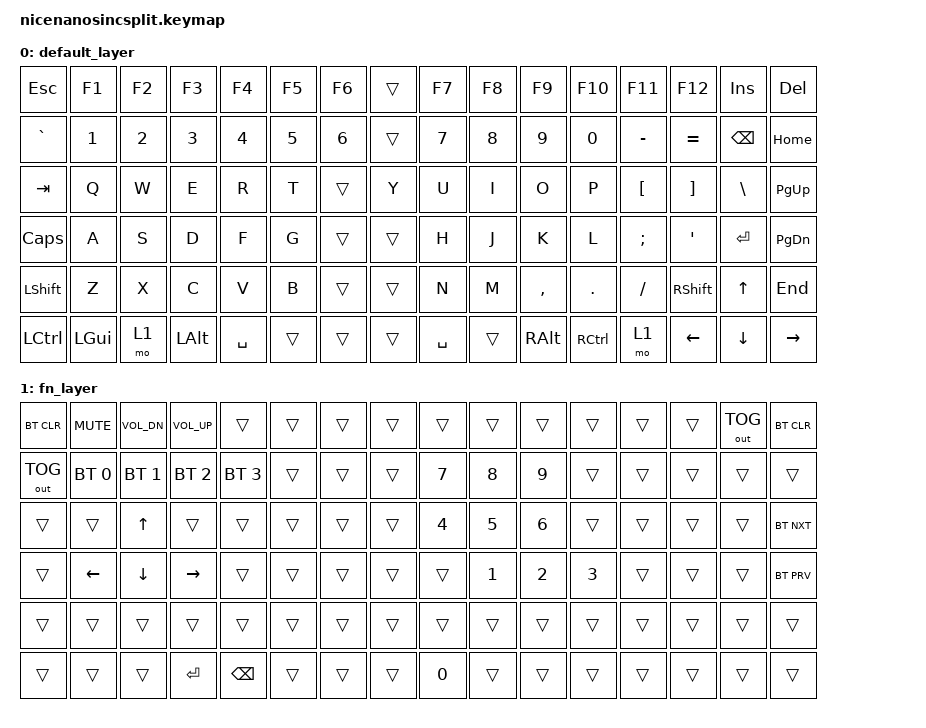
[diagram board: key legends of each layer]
#include <behaviors.dtsi>
#include <dt-bindings/zmk/bt.h>
#include <dt-bindings/zmk/keys.h>
#include <dt-bindings/zmk/outputs.h>

/ {
    keymap {
        compatible = "zmk,keymap";

// ------------------------------------------------      ----------------------------------------------------
// | ESC    |  F1  |  F2 |  F3  |  F4 |  F5 |  F6 |      |  F7 |  F8 |  F9 | F10 | F11 | F12 |    INS | DEL |
// |GRAVE|  1  |  2  |  3   |  4  |  5  |  6  |       |  7  |  8  |  9  |  0  |  -  |  =  |   BKSPC   | HOME|
// | TAB  |  Q   |  W  |  E   |  R  |  T  |          |  Y  |  U  |  I  |  O  |  P  |  [  |  ]  |  \   | PGUP|
// | CAPS  |  A   |  S  |  D   |  F  |  G  |           |  H  |  J  |  K  |  L  |  ;  |  '  |   ENTER  | PGDN|
// | SHIFT   |  Z   |  X  |  C  |  V   |  B  |          |  N  |  M  |  ,  |  .  |  /  |  RSHFT  |  UP | END |
// | LCTRL | LGUI | FN  |  ALT  |  SPACE     |          |   SPACE    | RALT | RCTRL | FN  | LFT | DWN | RGHT|
// -------------------------------------------          -----------------------------------------------------

        default_layer {
            bindings = <
&kp ESC   &kp F1   &kp F2   &kp F3    &kp F4    &kp F5      &kp F6    /**/ &trans    &kp F7    &kp F8    &kp F9    &kp F10   &kp F11   &kp F12   &kp INS  &kp DEL
&kp GRAVE &kp N1   &kp N2   &kp N3    &kp N4    &kp N5      &kp N6    /**/ &trans    &kp N7    &kp N8    &kp N9    &kp N0    &kp MINUS &kp EQUAL &kp BSPC &kp HOME
&kp TAB   &kp Q    &kp W    &kp E     &kp R     &kp T  	    &trans    /**/ &kp Y     &kp U     &kp I     &kp O     &kp P     &kp LBKT  &kp RBKT  &kp BSLH &kp PG_UP
&kp CAPS  &kp A    &kp S    &kp D     &kp F     &kp G       &trans    /**/ &trans    &kp H     &kp J     &kp K     &kp L     &kp SEMI  &kp SQT   &kp RET  &kp PG_DN
&kp LSHFT &kp Z    &kp X    &kp C     &kp V     &kp B       &trans    /**/ &trans    &kp N     &kp M     &kp COMMA &kp DOT   &kp FSLH  &kp RSHFT &kp UP   &kp END
&kp LCTRL &kp LGUI &mo 1    &kp LALT  &kp SPACE &trans      &trans    /**/ &trans    &kp SPACE &trans    &kp RALT  &kp RCTRL &mo 1     &kp LEFT  &kp DOWN &kp RIGHT
            >;
        };

// ----------------------------------------------        ------------------------------------------------------
// |BT_CLR| MUTE | V_DN| V_UP|     |      |     |        |     |     |     |     |     |       |OUT_TOG|BT_CLR|
// |O_TOG| BT-0 | BT-1| BT-2 | BT-3|     |     |        |  7  |  8  |  9  |     |     |     |          |      |
// |      |      |     |      |     |      |          |     |  4  |  5  |  6  |     |     |     |      |BT_NXT|
// |       |      |     |     |      |      |          |     |  1  |  2  |  3  |     |       |         |BT_PRV|
// |         |     |     |     |      |      |           |     |     |     |     |     |         |     |      |
// |        |       |      | ENTR |   BSPC   |           |      0      |      |      |     |     |     |      |
// -------------------------------------------           ------------------------------------------------------

        fn_layer {
            bindings = <
&bt BT_CLR   &kp C_MUTE   &kp C_VOL_DN &kp C_VOL_UP &trans       &trans      &trans /**/ &trans &trans &trans &trans &trans  &trans  &trans  &out OUT_TOG    &bt BT_CLR
&out OUT_TOG &bt BT_SEL 0 &bt BT_SEL 1 &bt BT_SEL 2 &bt BT_SEL 3 &trans      &trans /**/ &trans &kp N7 &kp N8 &kp N9 &trans  &trans  &trans  &trans          &trans 
&trans       &trans       &kp UP       &trans       &trans       &trans      &trans /**/ &trans &kp N4 &kp N5 &kp N6 &trans  &trans  &trans  &trans          &bt BT_NXT
&trans       &kp LEFT     &kp DOWN     &kp RIGHT    &trans       &trans      &trans /**/ &trans &trans &kp N1 &kp N2 &kp N3  &trans  &trans  &trans          &bt BT_PRV
&trans       &trans       &trans       &trans       &trans       &trans      &trans /**/ &trans &trans &trans &trans &trans  &trans  &trans  &trans          &trans
&trans       &trans       &trans       &kp RET      &kp BSPC     &trans      &trans /**/ &trans &kp N0 &trans &trans &trans  &trans  &trans  &trans          &trans
            >;
        };
    };
};
